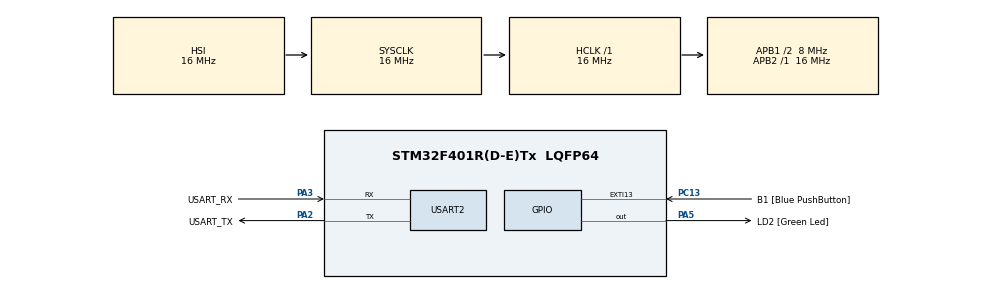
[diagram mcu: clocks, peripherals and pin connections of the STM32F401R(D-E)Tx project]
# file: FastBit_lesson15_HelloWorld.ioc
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Mcu.Family=STM32F4
Mcu.Name=STM32F401R(D-E)Tx
Mcu.Package=LQFP64
NVIC.PriorityGroup=NVIC_PRIORITYGROUP_4
PA13.GPIO_Label=TMS
PA13.Mode=Trace_Asynchronous_SW
PA13.Signal=SYS_JTMS-SWDIO
PA14.GPIO_Label=TCK
PA14.Mode=Trace_Asynchronous_SW
PA14.Signal=SYS_JTCK-SWCLK
PA2.GPIO_Label=USART_TX
PA2.GPIO_Mode=GPIO_MODE_AF_PP
PA2.GPIO_PuPd=GPIO_NOPULL
PA2.GPIO_Speed=GPIO_SPEED_FREQ_LOW
PA2.Mode=Asynchronous
PA2.Signal=USART2_TX
PA3.GPIO_Label=USART_RX
PA3.GPIO_Mode=GPIO_MODE_AF_PP
PA3.GPIO_PuPd=GPIO_NOPULL
PA3.GPIO_Speed=GPIO_SPEED_FREQ_LOW
PA3.Mode=Asynchronous
PA3.Signal=USART2_RX
PA5.GPIO_Label=LD2 [Green Led]
PA5.GPIO_Mode=GPIO_MODE_OUTPUT_PP
PA5.GPIO_PuPd=GPIO_NOPULL
PA5.GPIO_Speed=GPIO_SPEED_FREQ_LOW
PA5.Signal=GPIO_Output
PB3.GPIO_Label=SWO
PB3.Mode=Trace_Asynchronous_SW
PB3.Signal=SYS_JTDO-SWO
PC13-ANTI_TAMP.GPIO_Label=B1 [Blue PushButton]
PC13-ANTI_TAMP.GPIO_ModeDefaultEXTI=GPIO_MODE_IT_FALLING
PC13-ANTI_TAMP.GPIO_PuPd=GPIO_NOPULL
PC13-ANTI_TAMP.Signal=GPXTI13
PC14-OSC32_IN.Mode=LSE-External-Oscillator
PC14-OSC32_IN.Signal=RCC_OSC32_IN
PC15-OSC32_OUT.Mode=LSE-External-Oscillator
PC15-OSC32_OUT.Signal=RCC_OSC32_OUT
PH0\ -\ OSC_IN.Mode=HSE-External-Clock-Source
PH0\ -\ OSC_IN.Signal=RCC_OSC_IN
PH1\ -\ OSC_OUT.Mode=HSE-External-Clock-Source
PH1\ -\ OSC_OUT.Signal=RCC_OSC_OUT
ProjectManager.HeapSize=0x200
ProjectManager.StackSize=0x400
ProjectManager.TargetToolchain=STM32CubeIDE
RCC.48MHZClocksFreq_Value=48000000
RCC.AHBFreq_Value=16000000
RCC.APB1CLKDivider=RCC_HCLK_DIV2
RCC.APB1Freq_Value=8000000
RCC.APB1TimFreq_Value=16000000
RCC.APB2Freq_Value=16000000
RCC.APB2TimFreq_Value=16000000
RCC.CortexFreq_Value=16000000
RCC.HCLKFreq_Value=16000000
RCC.HSE_VALUE=8000000
RCC.HSI_VALUE=16000000
RCC.PLLN=336
RCC.PLLP=RCC_PLLP_DIV4
RCC.PLLQ=7
RCC.SYSCLKFreq_VALUE=16000000
RCC.VCOOutputFreq_Value=336000000
USART2.VirtualMode=VM_ASYNC
board=NUCLEO-F401RE

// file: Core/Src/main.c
/* USER CODE BEGIN Header */
/**
  ******************************************************************************
  * @file           : main.c
  * @brief          : Main program body
  ******************************************************************************
  * @attention
  *
  * Copyright (c) 2026 STMicroelectronics.
  * All rights reserved.
  *
  * This software is licensed under terms that can be found in the LICENSE file
  * in the root directory of this software component.
  * If no LICENSE file comes with this software, it is provided AS-IS.
  *
  ******************************************************************************
  */
/* USER CODE END Header */
#include "main.h"
#include "usart.h"
#include "gpio.h"

/* USER CODE BEGIN Includes */
#include "stdio.h"
/* USER CODE END Includes */

/* USER CODE BEGIN PV */
uint32_t psp_of_tasks[MAX_TASKS]={T1_STACK_START, T2_STACK_START, T3_STACK_START, T4_STACK_START};
uint32_t task_handlers[MAX_TASKS];
/* USER CODE END PV */

void SystemClock_Config(void);
/* USER CODE BEGIN PFP */
void init_scheduler_stack(uint32_t sched_top_of_stack);
void init_task_stack(void);
void init_systick_timer(uint32_t tick_hz);
void task1_handler(void);   //This is task 1
void task2_handler(void);   //This is task 2
void task3_handler(void);   //This is task 3
void task4_handler(void);   //This is task 4
/* USER CODE END PFP */

int main(void)
{

  /* MCU Configuration--------------------------------------------------------*/

  /* Reset of all peripherals, Initializes the Flash interface and the Systick. */
  HAL_Init();

  /* Configure the system clock */
  SystemClock_Config();

  /* USER CODE BEGIN SysInit */
  init_scheduler_stack(SCHED_STACK_START);
  task_handlers[0] = (uint32_t)task1_handler;
  task_handlers[1] = (uint32_t)task2_handler;
  task_handlers[2] = (uint32_t)task3_handler;
  task_handlers[3] = (uint32_t)task4_handler;
  init_task_stack();
  init_systick_timer(TICK_HZ);
  /* USER CODE END SysInit */

  /* Initialize all configured peripherals */
  MX_GPIO_Init();
  MX_USART2_UART_Init();

  /* Infinite loop */
  /* USER CODE BEGIN WHILE */
  printf("Hello World!\n");
  while (1)
  {
    /* USER CODE END WHILE */

  }
}

void SystemClock_Config(void)
{
  RCC_OscInitTypeDef RCC_OscInitStruct = {0};
  RCC_ClkInitTypeDef RCC_ClkInitStruct = {0};

  /** Configure the main internal regulator output voltage
  */
  __HAL_RCC_PWR_CLK_ENABLE();
  __HAL_PWR_VOLTAGESCALING_CONFIG(PWR_REGULATOR_VOLTAGE_SCALE2);

  /** Initializes the RCC Oscillators according to the specified parameters
  * in the RCC_OscInitTypeDef structure.
  */
  RCC_OscInitStruct.OscillatorType = RCC_OSCILLATORTYPE_HSI;
  RCC_OscInitStruct.HSIState = RCC_HSI_ON;
  RCC_OscInitStruct.HSICalibrationValue = RCC_HSICALIBRATION_DEFAULT;
  RCC_OscInitStruct.PLL.PLLState = RCC_PLL_NONE;
  if (HAL_RCC_OscConfig(&RCC_OscInitStruct) != HAL_OK)
  {
    Error_Handler();
  }

  /** Initializes the CPU, AHB and APB buses clocks
  */
  RCC_ClkInitStruct.ClockType = RCC_CLOCKTYPE_HCLK|RCC_CLOCKTYPE_SYSCLK
                              |RCC_CLOCKTYPE_PCLK1|RCC_CLOCKTYPE_PCLK2;
  RCC_ClkInitStruct.SYSCLKSource = RCC_SYSCLKSOURCE_HSI;
  RCC_ClkInitStruct.AHBCLKDivider = RCC_SYSCLK_DIV1;
  RCC_ClkInitStruct.APB1CLKDivider = RCC_HCLK_DIV2;
  RCC_ClkInitStruct.APB2CLKDivider = RCC_HCLK_DIV1;

  if (HAL_RCC_ClockConfig(&RCC_ClkInitStruct, FLASH_LATENCY_0) != HAL_OK)
  {
    Error_Handler();
  }
}

/* USER CODE BEGIN 4 */
void task1_handler(void)
{
    while(1)
    {
        printf("This is task 1\n");
    }
}

void task2_handler(void)
{
    while(1)
    {
        printf("This is task 2\n");
    }
}

void task3_handler(void)
{
    while(1)
    {
        printf("This is task 3\n");
    }
}

void task4_handler(void)
{
    while(1)
    {
        printf("This is task 4\n");
    }
}

void init_systick_timer(uint32_t tick_hz)
{
    uint32_t *pSRVR = (uint32_t*)0xE000E014;
    uint32_t *pSCSR = (uint32_t*)0xE000E010;
    uint32_t count_value = SYSTICK_TIM_CLK/tick_hz -1;

    // clear the value in SVR
    *pSRVR &= ~(0x00FFFFFFFF);

    // load value into SVR
    *pSRVR |= count_value;

    //do some settings
    *pSCSR |= (1<<1);   //enable systick exception request
    *pSCSR |= (1<<2);   //Indicates the clock source, processor clock source
    //enable the systick
    *pSCSR |= (1<<0);   //enable the counter
}

__attribute__((naked)) void init_scheduler_stack(uint32_t sched_top_of_stack)
{
    __asm volatile("MSR MSP,%0": : "r" (sched_top_of_stack) : );
    __asm volatile("BX LR");
}

void init_task_stack(void)
{
    uint32_t *pPSP;

    for (int i = 0; i< MAX_TASKS; i++)
    {
        pPSP = (uint32_t*)psp_of_tasks[i];
        pPSP--;
        *pPSP = DUMMY_XPSR; //0x0010000
        pPSP--; //PC
        *pPSP = task_handlers[i];
        pPSP--; //LR
        *pPSP = 0xFFFFFFFD;
        for (int j = 0; j < 13; j++)
        {
            pPSP--; //PC
            *pPSP = 0x00000000;
        }

        psp_of_tasks[i] = (uint32_t)pPSP;
    }
}

void SysTick_Handler(void)
{

}
/* USER CODE END 4 */

void Error_Handler(void)
{
  __disable_irq();
  while (1)
  {
  }
}
